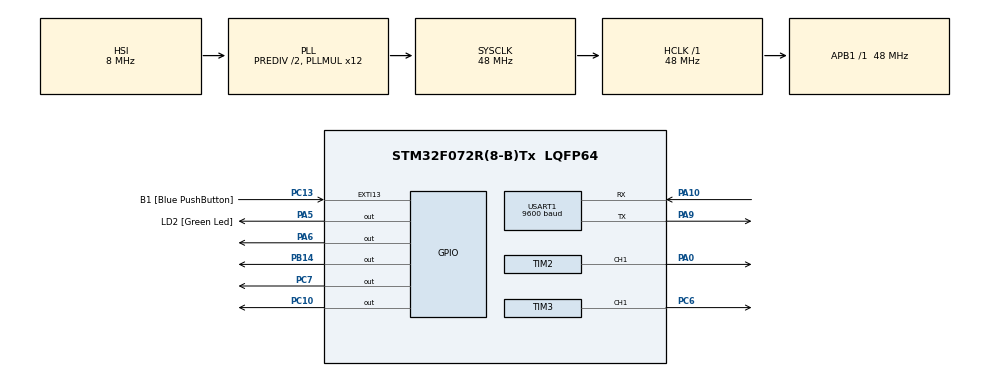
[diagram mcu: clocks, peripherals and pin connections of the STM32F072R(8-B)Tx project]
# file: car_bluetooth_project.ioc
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Mcu.Family=STM32F0
Mcu.Name=STM32F072R(8-B)Tx
Mcu.Package=LQFP64
NVIC.USART1_IRQn=true\:0\:0\:false\:false\:true\:true\:true\:true
PA0.Signal=S_TIM2_CH1_ETR
PA10.Mode=Asynchronous
PA10.Signal=USART1_RX
PA13.GPIO_Label=TMS
PA13.Signal=SYS_SWDIO
PA14.GPIO_Label=TCK
PA14.Signal=SYS_SWCLK
PA2.GPIO_Label=USART_TX
PA2.GPIO_Mode=GPIO_MODE_AF_PP
PA2.GPIO_PuPd=GPIO_NOPULL
PA2.GPIO_Speed=GPIO_SPEED_FREQ_LOW
PA2.Signal=USART2_TX
PA3.GPIO_Label=USART_RX
PA3.GPIO_Mode=GPIO_MODE_AF_PP
PA3.GPIO_PuPd=GPIO_NOPULL
PA3.GPIO_Speed=GPIO_SPEED_FREQ_LOW
PA3.Signal=USART2_RX
PA5.GPIO_Label=LD2 [Green Led]
PA5.GPIO_Mode=GPIO_MODE_OUTPUT_PP
PA5.GPIO_PuPd=GPIO_NOPULL
PA5.GPIO_Speed=GPIO_SPEED_FREQ_LOW
PA5.Signal=GPIO_Output
PA6.Signal=GPIO_Output
PA9.Mode=Asynchronous
PA9.Signal=USART1_TX
PB14.Signal=GPIO_Output
PC10.Signal=GPIO_Output
PC13.GPIO_Label=B1 [Blue PushButton]
PC13.GPIO_ModeDefaultEXTI=GPIO_MODE_IT_FALLING
PC13.Signal=GPXTI13
PC14-OSC32_IN.Signal=RCC_OSC32_IN
PC15-OSC32_OUT.Signal=RCC_OSC32_OUT
PC6.Signal=S_TIM3_CH1
PC7.Signal=GPIO_Output
PF0-OSC_IN.Signal=RCC_OSC_IN
PF1-OSC_OUT.Signal=RCC_OSC_OUT
ProjectManager.HeapSize=0x200
ProjectManager.StackSize=0x400
ProjectManager.TargetToolchain=STM32CubeIDE
RCC.AHBFreq_Value=48000000
RCC.APB1Freq_Value=48000000
RCC.APB1TimFreq_Value=48000000
RCC.FLatency-AdvancedSettings=FLASH_LATENCY_1
RCC.HCLKFreq_Value=48000000
RCC.PLLDivider=RCC_PREDIV_DIV2
RCC.PLLMUL=RCC_PLL_MUL12
RCC.SYSCLKFreq_VALUE=48000000
RCC.SYSCLKSource=RCC_SYSCLKSOURCE_PLLCLK
SH.S_TIM2_CH1_ETR.0=TIM2_CH1,PWM Generation1 CH1
SH.S_TIM3_CH1.0=TIM3_CH1,PWM Generation1 CH1
TIM2.Channel-PWM\ Generation1\ CH1=TIM_CHANNEL_1
TIM2.Prescaler=48-1
TIM3.Channel-PWM\ Generation1\ CH1=TIM_CHANNEL_1
TIM3.Prescaler=48-1
USART1.BaudRate=9600
USART1.Mode=MODE_RX
USART1.VirtualMode-Asynchronous=VM_ASYNC
VP_TIM2_VS_ClockSourceINT.Mode=Internal
VP_TIM3_VS_ClockSourceINT.Mode=Internal
board=NUCLEO-F072RB

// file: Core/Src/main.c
/* USER CODE BEGIN Header */
/**
  ******************************************************************************
  * @file           : main.c
  * @brief          : Main program body
  ******************************************************************************
  * @attention
  *
  * Copyright (c) 2022 STMicroelectronics.
  * All rights reserved.
  *
  * This software is licensed under terms that can be found in the LICENSE file
  * in the root directory of this software component.
  * If no LICENSE file comes with this software, it is provided AS-IS.
  *
  ******************************************************************************
  */
/* USER CODE END Header */
#include "main.h"

 TIM_HandleTypeDef htim2;
TIM_HandleTypeDef htim3;

UART_HandleTypeDef huart1;

/* USER CODE BEGIN PV */
uint8_t rxData;
/* USER CODE END PV */

void SystemClock_Config(void);
static void MX_GPIO_Init(void);
static void MX_USART1_UART_Init(void);
static void MX_TIM2_Init(void);
static void MX_TIM3_Init(void);

/* USER CODE BEGIN 0 */
void HAL_UART_RxCpltCallback(UART_HandleTypeDef *huart){
	if(huart->Instance==USART1){
		if(rxData=='F'){
					TIM2->CCR1=70;
					HAL_TIM_PWM_Start(&htim2,TIM_CHANNEL_1);
					HAL_GPIO_WritePin(GPIOA,GPIO_PIN_6,GPIO_PIN_SET);
					HAL_GPIO_WritePin(GPIOC,GPIO_PIN_7,GPIO_PIN_RESET);
					TIM3->CCR1=70;
					HAL_TIM_PWM_Start(&htim3,TIM_CHANNEL_1);
					HAL_GPIO_WritePin(GPIOB,GPIO_PIN_14,GPIO_PIN_SET);
					HAL_GPIO_WritePin(GPIOC,GPIO_PIN_10,GPIO_PIN_RESET);

		}
		if(rxData=='B'){
			TIM2->CCR1=70;
								HAL_TIM_PWM_Start(&htim2,TIM_CHANNEL_1);
			HAL_GPIO_WritePin(GPIOA,GPIO_PIN_6,GPIO_PIN_RESET);
					HAL_GPIO_WritePin(GPIOC,GPIO_PIN_7,GPIO_PIN_SET);
					TIM3->CCR1=70;
										HAL_TIM_PWM_Start(&htim3,TIM_CHANNEL_1);
					HAL_GPIO_WritePin(GPIOB,GPIO_PIN_14,GPIO_PIN_RESET);
					HAL_GPIO_WritePin(GPIOC,GPIO_PIN_10,GPIO_PIN_SET);

		}
		if(rxData=='L'){
			TIM2->CCR1=70;
								HAL_TIM_PWM_Start(&htim2,TIM_CHANNEL_1);
			HAL_GPIO_WritePin(GPIOA,GPIO_PIN_6,GPIO_PIN_SET);
					HAL_GPIO_WritePin(GPIOC,GPIO_PIN_7,GPIO_PIN_RESET);
					TIM3->CCR1=70;
										HAL_TIM_PWM_Start(&htim3,TIM_CHANNEL_1);
					HAL_GPIO_WritePin(GPIOB,GPIO_PIN_14,GPIO_PIN_RESET);
					HAL_GPIO_WritePin(GPIOC,GPIO_PIN_10,GPIO_PIN_SET);

		}
		if(rxData=='R'){
			TIM2->CCR1=70;
						    	HAL_TIM_PWM_Start(&htim2,TIM_CHANNEL_1);
			HAL_GPIO_WritePin(GPIOA,GPIO_PIN_6,GPIO_PIN_RESET);
			    	HAL_GPIO_WritePin(GPIOC,GPIO_PIN_7,GPIO_PIN_SET);
			      	TIM3->CCR1=70;
			    			    	HAL_TIM_PWM_Start(&htim3,TIM_CHANNEL_1);
			    	HAL_GPIO_WritePin(GPIOB,GPIO_PIN_14,GPIO_PIN_SET);
			    	HAL_GPIO_WritePin(GPIOC,GPIO_PIN_10,GPIO_PIN_RESET);

		}

	}

}
/* USER CODE END 0 */

int main(void)
{

  /* MCU Configuration--------------------------------------------------------*/

  /* Reset of all peripherals, Initializes the Flash interface and the Systick. */
  HAL_Init();

  /* Configure the system clock */
  SystemClock_Config();

  /* Initialize all configured peripherals */
  MX_GPIO_Init();
  MX_USART1_UART_Init();
  MX_TIM2_Init();
  MX_TIM3_Init();
  /* USER CODE BEGIN 2 */
HAL_UART_Receive_IT(&huart1,&rxData,1);
  /* USER CODE END 2 */

  /* Infinite loop */
  while (1)
  {

  }
}

void SystemClock_Config(void)
{
  RCC_OscInitTypeDef RCC_OscInitStruct = {0};
  RCC_ClkInitTypeDef RCC_ClkInitStruct = {0};
  RCC_PeriphCLKInitTypeDef PeriphClkInit = {0};

  /** Initializes the RCC Oscillators according to the specified parameters
  * in the RCC_OscInitTypeDef structure.
  */
  RCC_OscInitStruct.OscillatorType = RCC_OSCILLATORTYPE_HSI;
  RCC_OscInitStruct.HSIState = RCC_HSI_ON;
  RCC_OscInitStruct.HSICalibrationValue = RCC_HSICALIBRATION_DEFAULT;
  RCC_OscInitStruct.PLL.PLLState = RCC_PLL_ON;
  RCC_OscInitStruct.PLL.PLLSource = RCC_PLLSOURCE_HSI;
  RCC_OscInitStruct.PLL.PLLMUL = RCC_PLL_MUL12;
  RCC_OscInitStruct.PLL.PREDIV = RCC_PREDIV_DIV2;
  if (HAL_RCC_OscConfig(&RCC_OscInitStruct) != HAL_OK)
  {
    Error_Handler();
  }

  /** Initializes the CPU, AHB and APB buses clocks
  */
  RCC_ClkInitStruct.ClockType = RCC_CLOCKTYPE_HCLK|RCC_CLOCKTYPE_SYSCLK
                              |RCC_CLOCKTYPE_PCLK1;
  RCC_ClkInitStruct.SYSCLKSource = RCC_SYSCLKSOURCE_PLLCLK;
  RCC_ClkInitStruct.AHBCLKDivider = RCC_SYSCLK_DIV1;
  RCC_ClkInitStruct.APB1CLKDivider = RCC_HCLK_DIV1;

  if (HAL_RCC_ClockConfig(&RCC_ClkInitStruct, FLASH_LATENCY_1) != HAL_OK)
  {
    Error_Handler();
  }
  PeriphClkInit.PeriphClockSelection = RCC_PERIPHCLK_USART1;
  PeriphClkInit.Usart1ClockSelection = RCC_USART1CLKSOURCE_PCLK1;
  if (HAL_RCCEx_PeriphCLKConfig(&PeriphClkInit) != HAL_OK)
  {
    Error_Handler();
  }
}

static void MX_TIM2_Init(void)
{

  TIM_ClockConfigTypeDef sClockSourceConfig = {0};
  TIM_MasterConfigTypeDef sMasterConfig = {0};
  TIM_OC_InitTypeDef sConfigOC = {0};

  htim2.Instance = TIM2;
  htim2.Init.Prescaler = 48-1;
  htim2.Init.CounterMode = TIM_COUNTERMODE_UP;
  htim2.Init.Period = 4294967295;
  htim2.Init.ClockDivision = TIM_CLOCKDIVISION_DIV1;
  htim2.Init.AutoReloadPreload = TIM_AUTORELOAD_PRELOAD_DISABLE;
  if (HAL_TIM_Base_Init(&htim2) != HAL_OK)
  {
    Error_Handler();
  }
  sClockSourceConfig.ClockSource = TIM_CLOCKSOURCE_INTERNAL;
  if (HAL_TIM_ConfigClockSource(&htim2, &sClockSourceConfig) != HAL_OK)
  {
    Error_Handler();
  }
  if (HAL_TIM_PWM_Init(&htim2) != HAL_OK)
  {
    Error_Handler();
  }
  sMasterConfig.MasterOutputTrigger = TIM_TRGO_RESET;
  sMasterConfig.MasterSlaveMode = TIM_MASTERSLAVEMODE_DISABLE;
  if (HAL_TIMEx_MasterConfigSynchronization(&htim2, &sMasterConfig) != HAL_OK)
  {
    Error_Handler();
  }
  sConfigOC.OCMode = TIM_OCMODE_PWM1;
  sConfigOC.Pulse = 0;
  sConfigOC.OCPolarity = TIM_OCPOLARITY_HIGH;
  sConfigOC.OCFastMode = TIM_OCFAST_DISABLE;
  if (HAL_TIM_PWM_ConfigChannel(&htim2, &sConfigOC, TIM_CHANNEL_1) != HAL_OK)
  {
    Error_Handler();
  }
  HAL_TIM_MspPostInit(&htim2);

}

static void MX_TIM3_Init(void)
{

  TIM_ClockConfigTypeDef sClockSourceConfig = {0};
  TIM_MasterConfigTypeDef sMasterConfig = {0};
  TIM_OC_InitTypeDef sConfigOC = {0};

  htim3.Instance = TIM3;
  htim3.Init.Prescaler = 48-1;
  htim3.Init.CounterMode = TIM_COUNTERMODE_UP;
  htim3.Init.Period = 65535;
  htim3.Init.ClockDivision = TIM_CLOCKDIVISION_DIV1;
  htim3.Init.AutoReloadPreload = TIM_AUTORELOAD_PRELOAD_DISABLE;
  if (HAL_TIM_Base_Init(&htim3) != HAL_OK)
  {
    Error_Handler();
  }
  sClockSourceConfig.ClockSource = TIM_CLOCKSOURCE_INTERNAL;
  if (HAL_TIM_ConfigClockSource(&htim3, &sClockSourceConfig) != HAL_OK)
  {
    Error_Handler();
  }
  if (HAL_TIM_PWM_Init(&htim3) != HAL_OK)
  {
    Error_Handler();
  }
  sMasterConfig.MasterOutputTrigger = TIM_TRGO_RESET;
  sMasterConfig.MasterSlaveMode = TIM_MASTERSLAVEMODE_DISABLE;
  if (HAL_TIMEx_MasterConfigSynchronization(&htim3, &sMasterConfig) != HAL_OK)
  {
    Error_Handler();
  }
  sConfigOC.OCMode = TIM_OCMODE_PWM1;
  sConfigOC.Pulse = 0;
  sConfigOC.OCPolarity = TIM_OCPOLARITY_HIGH;
  sConfigOC.OCFastMode = TIM_OCFAST_DISABLE;
  if (HAL_TIM_PWM_ConfigChannel(&htim3, &sConfigOC, TIM_CHANNEL_1) != HAL_OK)
  {
    Error_Handler();
  }
  HAL_TIM_MspPostInit(&htim3);

}

static void MX_USART1_UART_Init(void)
{

  huart1.Instance = USART1;
  huart1.Init.BaudRate = 9600;
  huart1.Init.WordLength = UART_WORDLENGTH_8B;
  huart1.Init.StopBits = UART_STOPBITS_1;
  huart1.Init.Parity = UART_PARITY_NONE;
  huart1.Init.Mode = UART_MODE_RX;
  huart1.Init.HwFlowCtl = UART_HWCONTROL_NONE;
  huart1.Init.OverSampling = UART_OVERSAMPLING_16;
  huart1.Init.OneBitSampling = UART_ONE_BIT_SAMPLE_DISABLE;
  huart1.AdvancedInit.AdvFeatureInit = UART_ADVFEATURE_NO_INIT;
  if (HAL_UART_Init(&huart1) != HAL_OK)
  {
    Error_Handler();
  }

}

static void MX_GPIO_Init(void)
{
  GPIO_InitTypeDef GPIO_InitStruct = {0};

  /* GPIO Ports Clock Enable */
  __HAL_RCC_GPIOC_CLK_ENABLE();
  __HAL_RCC_GPIOF_CLK_ENABLE();
  __HAL_RCC_GPIOA_CLK_ENABLE();
  __HAL_RCC_GPIOB_CLK_ENABLE();

  /*Configure GPIO pin Output Level */
  HAL_GPIO_WritePin(GPIOA, LD2_Pin|GPIO_PIN_6, GPIO_PIN_RESET);

  /*Configure GPIO pin Output Level */
  HAL_GPIO_WritePin(GPIOB, GPIO_PIN_14, GPIO_PIN_RESET);

  /*Configure GPIO pin Output Level */
  HAL_GPIO_WritePin(GPIOC, GPIO_PIN_7|GPIO_PIN_10, GPIO_PIN_RESET);

  /*Configure GPIO pin : B1_Pin */
  GPIO_InitStruct.Pin = B1_Pin;
  GPIO_InitStruct.Mode = GPIO_MODE_IT_FALLING;
  GPIO_InitStruct.Pull = GPIO_NOPULL;
  HAL_GPIO_Init(B1_GPIO_Port, &GPIO_InitStruct);

  /*Configure GPIO pins : USART_TX_Pin USART_RX_Pin */
  GPIO_InitStruct.Pin = USART_TX_Pin|USART_RX_Pin;
  GPIO_InitStruct.Mode = GPIO_MODE_AF_PP;
  GPIO_InitStruct.Pull = GPIO_NOPULL;
  GPIO_InitStruct.Speed = GPIO_SPEED_FREQ_LOW;
  GPIO_InitStruct.Alternate = GPIO_AF1_USART2;
  HAL_GPIO_Init(GPIOA, &GPIO_InitStruct);

  /*Configure GPIO pins : LD2_Pin PA6 */
  GPIO_InitStruct.Pin = LD2_Pin|GPIO_PIN_6;
  GPIO_InitStruct.Mode = GPIO_MODE_OUTPUT_PP;
  GPIO_InitStruct.Pull = GPIO_NOPULL;
  GPIO_InitStruct.Speed = GPIO_SPEED_FREQ_LOW;
  HAL_GPIO_Init(GPIOA, &GPIO_InitStruct);

  /*Configure GPIO pin : PB14 */
  GPIO_InitStruct.Pin = GPIO_PIN_14;
  GPIO_InitStruct.Mode = GPIO_MODE_OUTPUT_PP;
  GPIO_InitStruct.Pull = GPIO_NOPULL;
  GPIO_InitStruct.Speed = GPIO_SPEED_FREQ_LOW;
  HAL_GPIO_Init(GPIOB, &GPIO_InitStruct);

  /*Configure GPIO pins : PC7 PC10 */
  GPIO_InitStruct.Pin = GPIO_PIN_7|GPIO_PIN_10;
  GPIO_InitStruct.Mode = GPIO_MODE_OUTPUT_PP;
  GPIO_InitStruct.Pull = GPIO_NOPULL;
  GPIO_InitStruct.Speed = GPIO_SPEED_FREQ_LOW;
  HAL_GPIO_Init(GPIOC, &GPIO_InitStruct);

}

void Error_Handler(void)
{
  __disable_irq();
  while (1)
  {
  }
}
